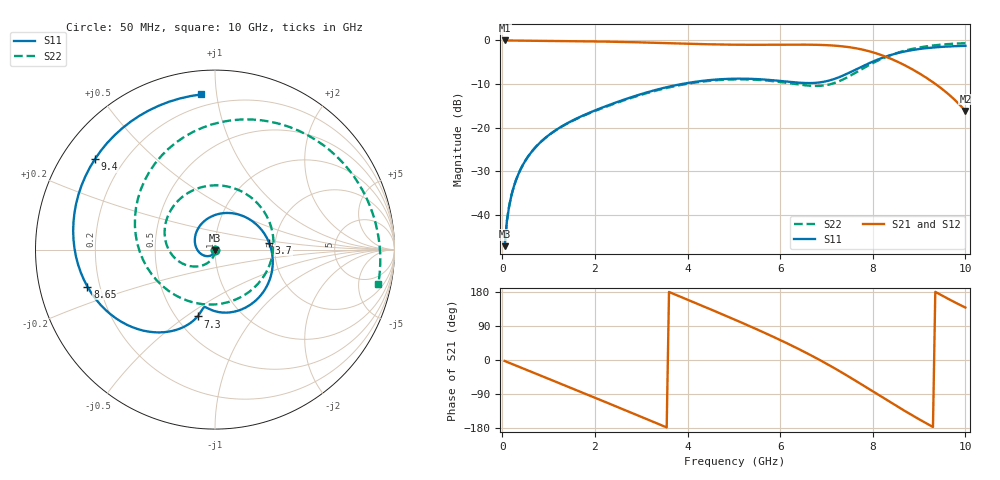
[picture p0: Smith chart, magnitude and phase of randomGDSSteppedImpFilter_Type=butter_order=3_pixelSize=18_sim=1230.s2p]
! freq	dB(S11)	phase(S11)	dB(S12)	phase(S12)
!  dB(S21)	phase(S21)	dB(S22)	phase(S22)
!S-par simulation data
#  GHz  S  DB  R 50
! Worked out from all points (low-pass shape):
!   200 points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, 50 MHz to 10 GHz, reference 50 ohm
!   highest |S21| = 0.00 dB at 50 MHz (marker M1); lowest = -16.2 dB at 10 GHz (marker M2)
!   |S21| within 3 dB of the highest: start of sweep to 8.09 GHz
!   lowest |S11| = -47.1 dB at 50 MHz (marker M3), VSWR 1.01, Z = 50 - j0.441 ohm
!   |S11| at or under -10 dB: start of sweep to 3.866 GHz
!   |S22| runs from -47.1 to -0.6 dB; largest |S21 - S12| = 0
!   S11 on the Smith chart (normalised r, x): 50 MHz: 1.00, -0.01; 3.7 GHz: 1.85, +0.16; 7.3 GHz: 0.64, -0.55; 8.65 GHz: 0.15, -0.14; 9.4 GHz: 0.10, +0.33; 10 GHz: 0.13, +0.91
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0.05  -47.11 -90.3  -0.00 -2.5  -0.00 -2.5  -47.07 -87.9
0.1  -41.29 -95.2  -0.01 -5.0  -0.01 -5.0  -41.25 -90.7
0.2  -35.37 -103.6  -0.02 -10.0  -0.02 -10.0  -35.32 -94.8
0.5  -27.51 -126.4  -0.04 -24.9  -0.04 -24.9  -27.48 -104.3
1.15  -20.57 -174.5  -0.10 -57.2  -0.10 -57.2  -20.61 -121.8
1.75  -17.16 140.3  -0.18 -87.0  -0.18 -87.0  -17.26 -136.7
2.5  -14.03 84.8  -0.32 -124.7  -0.32 -124.7  -14.19 -156.2
2.95  -12.44 53.7  -0.43 -147.4  -0.43 -147.4  -12.61 -170.2
3.4  -11.09 25.0  -0.57 -170.3  -0.57 -170.3  -11.26 173.1
3.7  -10.35 7.3  -0.66 174.5  -0.66 174.5  -10.52 160.5
4.3  -9.28 -24.6  -0.84 143.8  -0.84 143.8  -9.45 131.7
5.05  -8.75 -58.2  -0.98 104.9  -0.98 104.9  -8.92 88.4
5.85  -9.12 -85.8  -0.99 61.3  -0.99 61.3  -9.33 30.3
6.3  -9.59 -95.9  -0.96 35.0  -0.96 35.0  -9.95 -11.2
6.7  -9.75 -100.4  -0.98 10.1  -0.98 10.1  -10.41 -56.7
7.3  -8.30 -104.6  -1.30 -30.7  -1.30 -30.7  -9.22 -138.2
7.85  -5.56 -119.8  -2.28 -71.4  -2.28 -71.4  -6.05 152.0
8.35  -3.46 -145.2  -4.02 -109.2  -4.02 -109.2  -3.52 100.5
8.65  -2.62 -163.8  -5.47 -131.4  -5.47 -131.4  -2.46 74.3
9.05  -1.90 168.9  -7.83 -159.8  -7.83 -159.8  -1.54 44.1
9.4  -1.54 143.0  -10.33 176.4  -10.33 176.4  -1.04 21.4
10  -1.23 95.0  -16.17 138.4  -16.17 138.4  -0.63 -11.8
